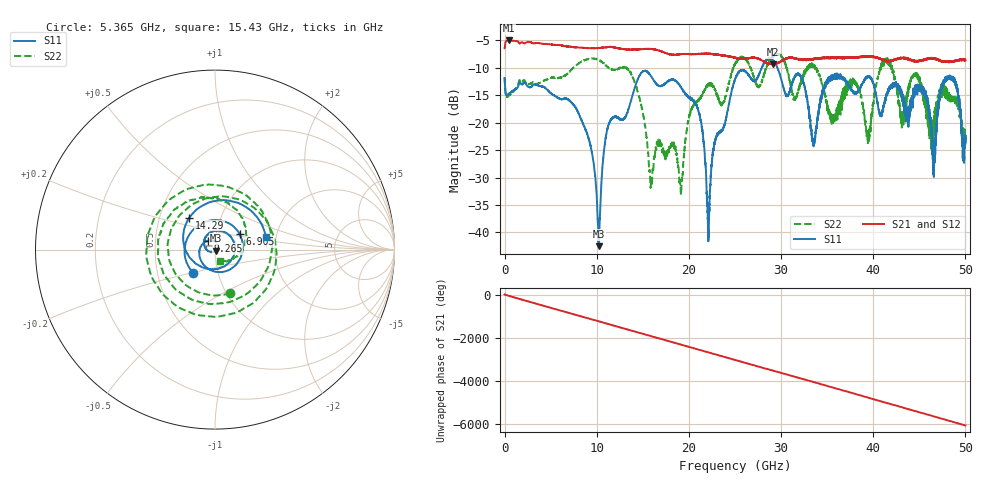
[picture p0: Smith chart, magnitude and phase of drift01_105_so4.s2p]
!Created with skrf (http://scikit-rf.org).
# Hz S RI R 50.0
!freq ReS11 ImS11 ReS21 ImS21 ReS12 ImS12 ReS22 ImS22
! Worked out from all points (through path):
!   10001 points, 300 kHz to 50 GHz, reference 50 ohm
!   highest |S21| = -5.05 dB at 445.3 MHz (marker M1); lowest = -9.4 dB at 29.12 GHz (marker M2)
!   group delay of S21, straight-line fit = 336 ps
!   lowest |S11| = -42.5 dB at 10.22 GHz (marker M3), VSWR 1.02, Z = 50.5 - j0.521 ohm
!   |S11| at or under -10 dB: start of sweep to 27.9 GHz; 29.6 GHz to end of sweep
!   |S22| runs from -33.0 to -7.5 dB; largest |S21 - S12| = 0.013
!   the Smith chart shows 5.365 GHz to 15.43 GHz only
!   S11 on the Smith chart (normalised r, x): 5.365 GHz: 0.76, -0.20; 6.905 GHz: 1.30, +0.23; 9.265 GHz: 0.92, +0.09; 14.29 GHz: 0.71, +0.27; 15.43 GHz: 1.77, +0.27
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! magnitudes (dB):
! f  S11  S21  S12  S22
! 300 kHz  -11.9  -6.5  -6.6  -11.8
! 445.3 MHz  -14.8  -5.1  -5.1  -15.1
! 5.365 GHz  -15.0  -5.9  -5.8  -11.8
! 6.905 GHz  -15.8  -6.1  -6.1  -11.0
! 8.335 GHz  -19.5  -6.3  -6.4  -8.9
! 9.265 GHz  -23.9  -6.5  -6.4  -8.4
! 10.22 GHz  -42.5  -6.4  -6.4  -8.6
! 11.23 GHz  -20.7  -6.3  -6.2  -9.9
! 14.29 GHz  -12.8  -6.7  -6.7  -13.5
! 15.43 GHz  -10.7  -6.6  -6.6  -22.9
! 16.67 GHz  -13.2  -6.9  -6.8  -23.4
! 19.14 GHz  -13.6  -7.5  -7.6  -33.0
! 20.86 GHz  -17.0  -7.6  -7.5  -16.2
! 22.13 GHz  -40.7  -7.5  -7.5  -13.4
! 25 GHz  -12.1  -8.2  -8.2  -9.5
! 29.12 GHz  -8.6  -9.4  -9.4  -7.9
! 33.34 GHz  -22.3  -8.5  -8.4  -9.5
! 39.47 GHz  -11.6  -8.0  -8.0  -22.2
! 41.67 GHz  -13.9  -8.8  -8.7  -9.0
! 46.55 GHz  -26.1  -8.3  -8.3  -20.0
! 48.55 GHz  -11.8  -8.9  -9.0  -15.4
! 50 GHz  -23.8  -8.7  -8.7  -23.2
